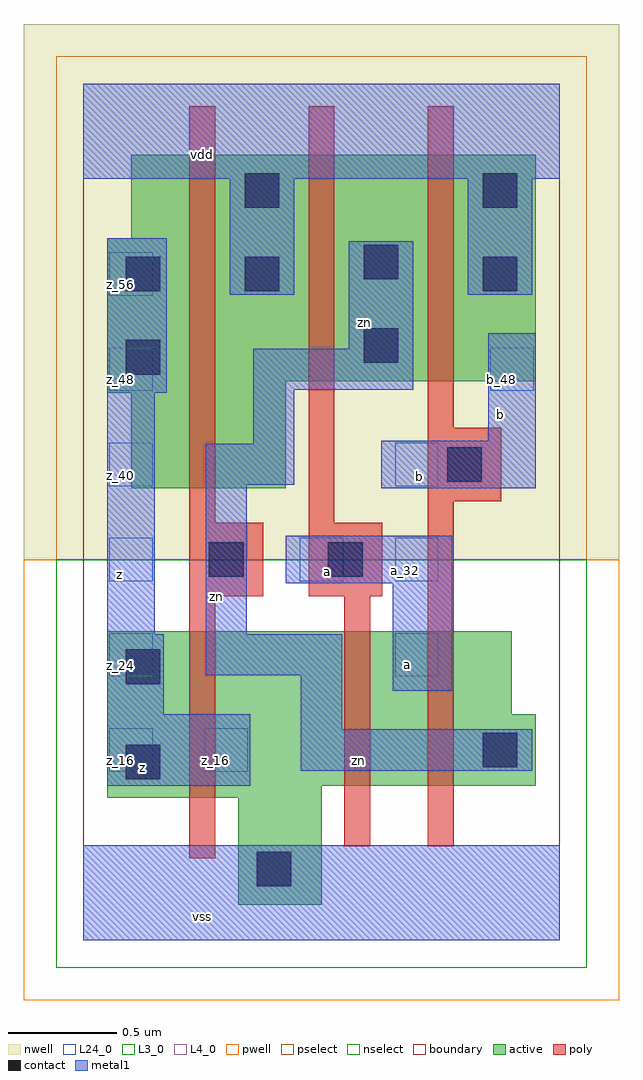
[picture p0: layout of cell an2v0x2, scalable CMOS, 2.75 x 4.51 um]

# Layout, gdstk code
import gdstk
lib = gdstk.Library(unit=1e-6, precision=2.5e-09)
def R(c, l, rs):  # rectangles x0, y0, x1, y1
    for r in rs: c.add(gdstk.rectangle(r[:2], r[2:], *l))
def A(c, l, x, y, w, h, nx, ny, dx, dy):  # array of equal rectangles
    R(c, l, [(x+i*dx, y+j*dy, x+i*dx+w, y+j*dy+h) for i in range(nx) for j in range(ny)])
L3_0 = (3, 0)
L4_0 = (4, 0)
L24_0 = (24, 0)
contact = (25, 0)
pwell = (41, 0)
nwell = (42, 0)
active = (43, 0)
pselect = (44, 0)
nselect = (45, 0)
poly = (46, 0)
metal1 = (49, 0)
boundary = (63, 0)

an2v0x2 = lib.new_cell('an2v0x2')
R(an2v0x2, L3_0, [(0.715,0.165,1.1,0.66), (0.11,0.66,1.1,0.715), (0.11,0.715,2.09,1.045), (0.11,1.045,1.98,1.43)])
R(an2v0x2, L4_0, [(0.22,2.09,0.935,2.53), (0.11,2.53,0.935,2.585), (0.11,2.585,2.09,3.245), (0.22,3.245,2.09,3.63)])
A(an2v0x2, L24_0, 0.12, 0.78, 0.2, 0.2, 1, 6, 0, 0.44)
A(an2v0x2, L24_0, 1.44, 1.22, 0.2, 0.2, 1, 3, 0, 0.44)
R(an2v0x2, L24_0, [(0.56,0.78,0.76,0.98), (1,1.66,1.2,1.86), (1.88,2.54,2.08,2.74)])
R(an2v0x2, contact, [(0.8,0.25,0.96,0.41), (0.195,0.745,0.355,0.905), (1.845,0.8,2.005,0.96), (0.195,1.185,0.355,1.345), (0.58,1.68,0.74,1.84), (1.13,1.68,1.29,1.84), (1.68,2.12,1.84,2.28), (0.195,2.615,0.355,2.775), (1.295,2.67,1.455,2.83), (0.195,3,0.355,3.16), (0.745,3,0.905,3.16), (1.845,3,2.005,3.16), (1.295,3.055,1.455,3.215), (0.745,3.385,0.905,3.545), (1.845,3.385,2.005,3.545)])
R(an2v0x2, pwell, [(-0.275,-0.275,2.475,1.76)])
R(an2v0x2, nwell, [(-0.275,1.76,2.475,4.235)])
R(an2v0x2, active, [(0.715,0.165,1.1,0.66), (0.11,0.66,1.1,0.715), (0.11,0.715,2.09,1.045), (0.11,1.045,1.98,1.43), (0.22,2.09,0.935,2.53), (0.11,2.53,0.935,2.585), (0.11,2.585,2.09,3.245), (0.22,3.245,2.09,3.63)])
R(an2v0x2, pselect, [(-0.125,1.76,2.325,4.085)])
R(an2v0x2, nselect, [(-0.125,-0.125,2.325,1.76)])
R(an2v0x2, poly, [(0.49,0.38,0.61,1.59), (1.205,0.435,1.325,1.59), (1.59,0.435,1.71,2.03), (0.49,1.59,0.83,1.93), (1.04,1.59,1.38,1.93), (0.49,1.93,0.61,3.855), (1.04,1.93,1.16,3.855), (1.59,2.03,1.93,2.37), (1.59,2.37,1.71,3.855)])
R(an2v0x2, metal1, [(0,0,2.2,0.44), (0.11,0.715,0.77,1.045), (1.005,0.785,2.075,0.975), (1.005,0.975,1.195,1.225), (0.11,1.045,0.37,1.415), (1.43,1.155,1.705,1.65), (0.565,1.225,1.195,1.415), (0.11,1.415,0.33,2.53), (0.565,1.415,0.755,2.105), (0.935,1.65,1.705,1.87), (1.375,2.09,2.09,2.31), (0.565,2.105,0.975,2.295), (0.785,2.295,0.975,2.545), (1.87,2.31,2.09,2.805), (0.11,2.53,0.385,3.245), (0.785,2.545,1.525,2.735), (1.225,2.735,1.525,3.23), (0.675,2.985,0.975,3.52), (1.775,2.985,2.075,3.52), (0,3.52,2.2,3.96)])
R(an2v0x2, boundary, [(0,0,2.2,3.96)])
an2v0x2.add(gdstk.Label('vss', (0.55,0.11), layer=49, texttype=0))
an2v0x2.add(gdstk.Label('zn', (1.2725,0.8325), layer=49, texttype=0))
an2v0x2.add(gdstk.Label('a', (1.4975,1.2775), layer=49, texttype=0))
an2v0x2.add(gdstk.Label('z', (0.275,0.7975), layer=49, texttype=0))
an2v0x2.add(gdstk.Label('a', (1.1275,1.705), layer=49, texttype=0))
an2v0x2.add(gdstk.Label('b', (1.5525,2.145), layer=49, texttype=0))
an2v0x2.add(gdstk.Label('zn', (0.6125,1.5875), layer=49, texttype=0))
an2v0x2.add(gdstk.Label('b', (1.925,2.4325), layer=49, texttype=0))
an2v0x2.add(gdstk.Label('z', (0.165,1.6925), layer=49, texttype=0))
an2v0x2.add(gdstk.Label('zn', (1.3,2.8575), layer=49, texttype=0))
an2v0x2.add(gdstk.Label('vdd', (0.55,3.63), layer=49, texttype=0))
an2v0x2.add(gdstk.Label('z_56', (0.17,3.03), layer=24, texttype=0))
an2v0x2.add(gdstk.Label('z_48', (0.17,2.59), layer=24, texttype=0))
an2v0x2.add(gdstk.Label('z_40', (0.17,2.15), layer=24, texttype=0))
an2v0x2.add(gdstk.Label('z_32', (0.17,1.71), layer=24, texttype=0))
an2v0x2.add(gdstk.Label('z_24', (0.17,1.27), layer=24, texttype=0))
an2v0x2.add(gdstk.Label('z_16', (0.17,0.83), layer=24, texttype=0))
an2v0x2.add(gdstk.Label('b_48', (1.93,2.59), layer=24, texttype=0))
an2v0x2.add(gdstk.Label('b_40', (1.49,2.15), layer=24, texttype=0))
an2v0x2.add(gdstk.Label('a_32', (1.49,1.71), layer=24, texttype=0))
an2v0x2.add(gdstk.Label('a_24', (1.49,1.27), layer=24, texttype=0))
an2v0x2.add(gdstk.Label('a_32', (1.05,1.71), layer=24, texttype=0))
an2v0x2.add(gdstk.Label('z_16', (0.61,0.83), layer=24, texttype=0))

lib.write_gds('an2v0x2.gds')
